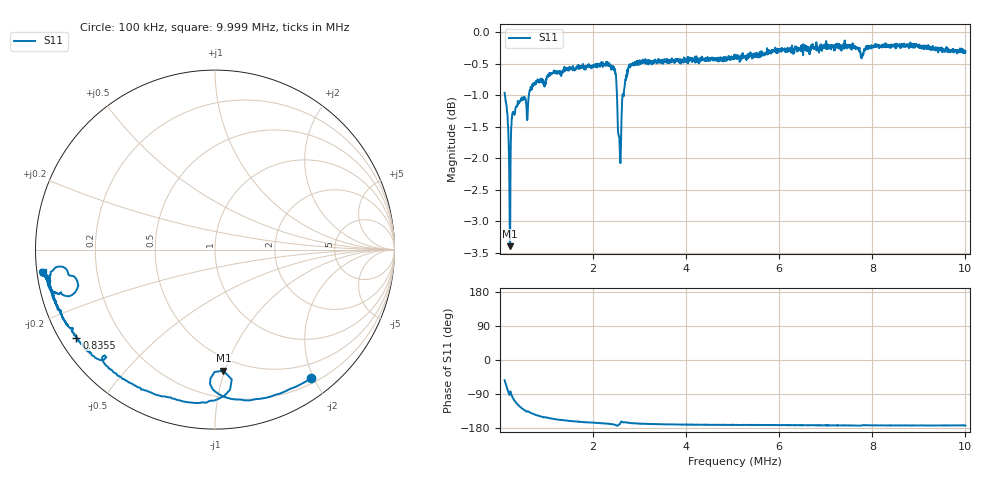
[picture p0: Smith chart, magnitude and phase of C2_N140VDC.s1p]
# HZ S RI R 50
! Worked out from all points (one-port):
!   2020 points, 100 kHz to 9.999 MHz, reference 50 ohm
!   lowest |S11| = -3.4 dB at 217.7 kHz (marker M1), VSWR 5.18, Z = 19.9 - j49.5 ohm
!   |S11| at or under -10 dB: nowhere
!   S11 on the Smith chart (normalised r, x): 100 kHz: 0.27, -1.96; 835.5 kHz: 0.05, -0.29; 9.999 MHz: 0.02, -0.06
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100000  0.5344 -0.7178
129418  0.3647 -0.8012
168642  0.1411 -0.8354
217672  0.0469 -0.6748
266702  -0.1123 -0.8545
296120  -0.2116 -0.8375
374568  -0.3927 -0.7838
457919  -0.5222 -0.7122
551076  -0.6179 -0.6319
688360  -0.6977 -0.5699
835450  -0.7725 -0.4901
1124727  -0.8416 -0.3911
1340459  -0.8666 -0.3422
1708184  -0.8956 -0.2788
2424022  -0.9218 -0.1695
2473052  -0.9229 -0.144
2526985  -0.8486 -0.0959
2576015  -0.7871 -0.1482
2649560  -0.858 -0.2373
2811359  -0.9153 -0.222
3233017  -0.9293 -0.1805
3816474  -0.938 -0.1603
5052030  -0.9432 -0.1442
6287586  -0.9597 -0.1347
7528045  -0.9676 -0.1234
7783001  -0.9498 -0.1284
8763601  -0.9695 -0.1264
9999157  -0.9575 -0.1228
